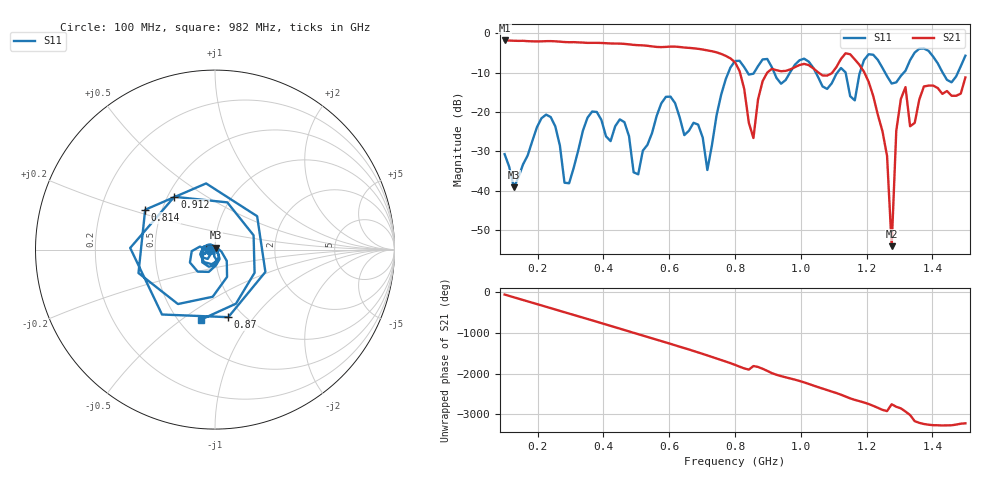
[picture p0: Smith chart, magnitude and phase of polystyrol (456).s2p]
! NanoVNA-App
! Date: 2025-09-25 15:33:26
! Start: 100MHz Stop: 1,5GHz Points: 101
! S-Parameter data: F S11 S21 S12 S22
# Hz S RI R 50
!  Frequency  S11_Real  S11_Imag  S21_Real  S21_Imag  S12_Real  S12_Imag  S22_Real  S22_Imag
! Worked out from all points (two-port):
!   101 points, 100 MHz to 1.5 GHz, reference 50 ohm
!   highest |S21| = -1.80 dB at 100 MHz (marker M1); lowest = -54.1 dB at 1.276 GHz (marker M2)
!   |S21| within 3 dB of the highest: start of sweep to 743 MHz
!   lowest |S11| = -39.1 dB at 128 MHz (marker M3), VSWR 1.02, Z = 50.3 + j1.06 ohm
!   |S11| at or under -10 dB: start of sweep to 779.7 MHz; 1.046 GHz to 1.111 GHz (65.06 MHz wide, 6.03 % of centre); 1.256 GHz to 1.313 GHz (56.41 MHz wide, 4.39 % of centre) (the widest 3 of 7)
!   S12 and S22 are empty: the file has one direction only
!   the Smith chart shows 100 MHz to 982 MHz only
!   S11 on the Smith chart (normalised r, x): 100 MHz: 0.94, -0.01; 814 MHz: 0.40, +0.22; 870 MHz: 0.85, -0.75; 912 MHz: 0.54, +0.37; 982 MHz: 0.64, -0.59
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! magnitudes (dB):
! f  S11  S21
! 100 MHz  -30.7  -1.8
! 128 MHz  -39.1  -1.9
! 212 MHz  -21.6  -2.0
! 282 MHz  -38.0  -2.2
! 338 MHz  -24.7  -2.3
! 506 MHz  -35.8  -3.0
! 576 MHz  -17.8  -3.5
! 716 MHz  -34.7  -4.3
! 800 MHz  -7.0  -7.3
! 814 MHz  -7.0  -9.6
! 856 MHz  -10.3  -26.6
! 870 MHz  -8.3  -16.8
! 912 MHz  -8.6  -9.0
! 982 MHz  -8.0  -8.6
! 1.038 GHz  -8.8  -8.9
! 1.164 GHz  -17.0  -6.6
! 1.206 GHz  -5.3  -12.3
! 1.262 GHz  -10.9  -31.2
! 1.276 GHz  -12.8  -54.1
! 1.29 GHz  -12.4  -24.7
! 1.318 GHz  -9.5  -13.7
! 1.5 GHz  -5.7  -11.2
